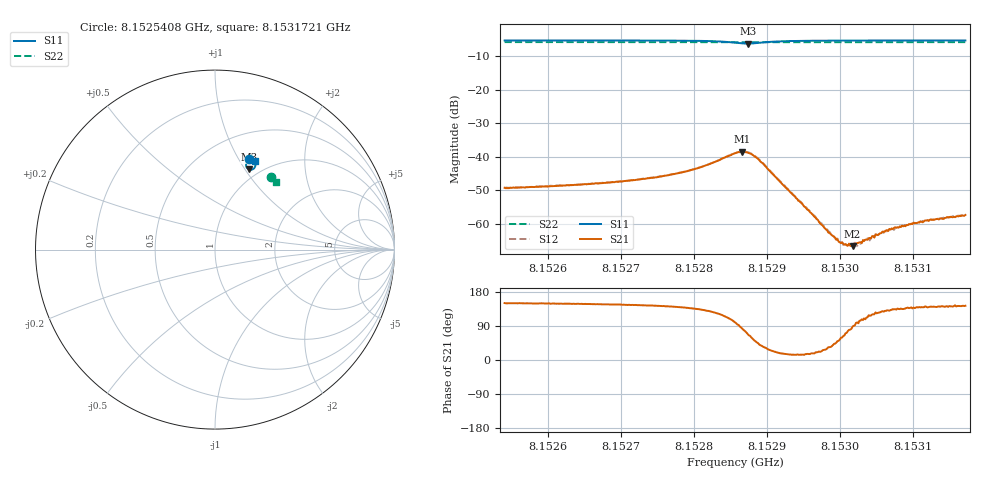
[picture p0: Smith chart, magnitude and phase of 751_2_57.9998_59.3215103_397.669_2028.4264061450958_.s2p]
#  HZ  S  RI  R  50.00
! Rohde & Schwarz Vector Network Analyzer
! Rohde-Schwarz,ZNB20-2Port,1311601062101988,3.16
! Created: UTC 3/21/2024, 1:24:00 AM
! freq[Hz]  re:S11  im:S11  re:S21  im:S21  re:S12  im:S12  re:S22  im:S22
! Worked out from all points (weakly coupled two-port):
!   401 points, 8.1525408 GHz to 8.1531721 GHz, reference 50 ohm
!   highest |S21| = -38.51 dB at 8.1528659 GHz (marker M1); lowest = -66.7 dB at 8.1530174 GHz (marker M2)
!   lowest |S11| = -6.3 dB at 8.1528738 GHz (marker M3), VSWR 2.89, Z = 44.5 + j52.1 ohm
!   |S11| at or under -10 dB: nowhere
!   |S22| runs from -5.9 to -5.8 dB; largest |S21 - S12| = 0.00038
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8.15254079e9  0.192 0.5052  -0.00297 0.0017  -0.00295 0.00176  0.3121 0.4045
8.15264654e9  0.2008 0.5016  -0.00326 0.00202  -0.00325 0.00211  0.3174 0.4001
8.1527002e9  0.206 0.4989  -0.00352 0.00235  -0.00353 0.00245  0.3202 0.3978
8.15275228e9  0.2122 0.495  -0.00397 0.00304  -0.00396 0.0031  0.3227 0.3956
8.15280752e9  0.2213 0.4853  -0.00472 0.00494  -0.00469 0.00503  0.3254 0.3929
8.15285644e9  0.2165 0.4518  -0.00175 0.0111  -0.00181 0.0111  0.3269 0.3899
8.15286591e9  0.2029 0.4454  0.00138 0.0118  0.00118 0.012  0.3268 0.3893
8.1528738e9  0.1886 0.4473  0.0042 0.0107  0.00426 0.0109  0.3267 0.3892
8.15288012e9  0.1793 0.4543  0.00581 0.00895  0.00593 0.00915  0.3268 0.3896
8.15288959e9  0.1732 0.4678  0.0067 0.00582  0.00667 0.00613  0.3272 0.3897
8.15291642e9  0.1821 0.4909  0.00418 0.00143  0.0043 0.00142  0.3291 0.3894
8.15296219e9  0.1979 0.4976  0.00132 0.000419  0.00134 0.000404  0.3318 0.3874
8.1529827e9  0.2022 0.4976  0.000686 0.000402  0.000717 0.000404  0.3329 0.3865
8.15300164e9  0.2054 0.4974  0.000265 0.000438  0.000294 0.000429  0.334 0.3858
8.15301269e9  0.207 0.4972  9.13e-05 0.000493  8.79e-05 0.000482  0.3344 0.3854
8.15301743e9  0.2077 0.4972  1.52e-05 0.000461  -1.43e-05 0.000483  0.3348 0.385
8.1530269e9  0.2091 0.4969  -0.000122 0.000511  -8.6e-05 0.000501  0.3353 0.3847
8.15303479e9  0.21 0.4966  -0.000173 0.000551  -0.000173 0.00051  0.3355 0.3843
8.15306793e9  0.2137 0.4957  -0.000538 0.000638  -0.000536 0.000593  0.3373 0.3829
8.15309002e9  0.2159 0.4951  -0.000661 0.000633  -0.000666 0.000675  0.3383 0.3819
8.15311686e9  0.2184 0.4942  -0.000873 0.000697  -0.000832 0.000723  0.3397 0.3808
8.15317209e9  0.223 0.4926  -0.00108 0.000808  -0.00106 0.000827  0.3422 0.3782
